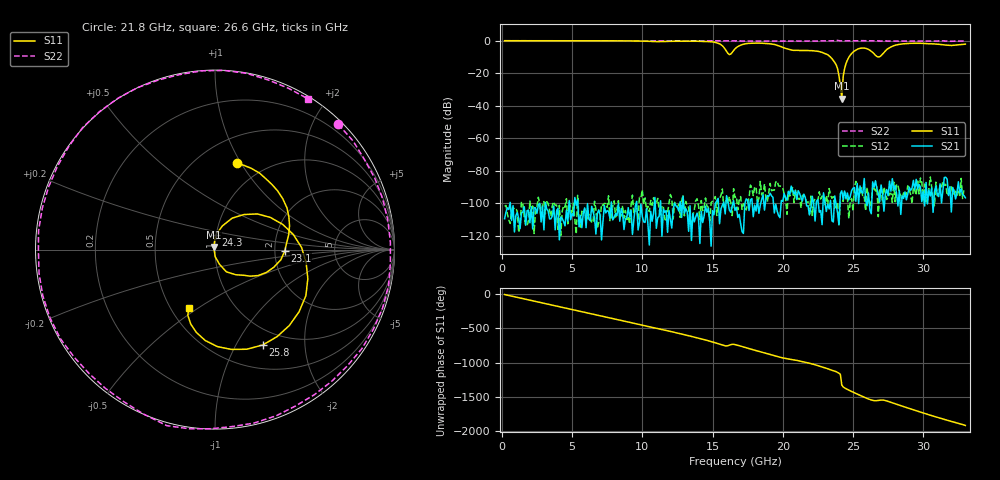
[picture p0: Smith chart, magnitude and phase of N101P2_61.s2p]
# GHZ S RI R 50
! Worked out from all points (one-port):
!   329 points, 200 MHz to 33 GHz, reference 50 ohm
!   lowest |S11| = -35.6 dB at 24.2 GHz (marker M1), VSWR 1.03, Z = 49.3 + j1.49 ohm
!   |S11| at or under -10 dB: 23.39 GHz to 24.72 GHz (1.326 GHz wide, 5.51 % of centre)
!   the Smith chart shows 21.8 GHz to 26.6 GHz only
!   S11 on the Smith chart (normalised r, x): 21.8 GHz: 0.75, +0.96; 23.1 GHz: 2.27, -0.04; 24.3 GHz: 0.99, +0.16; 25.8 GHz: 0.79, -1.29; 26.6 GHz: 0.62, -0.46
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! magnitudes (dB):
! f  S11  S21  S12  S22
! 200 MHz  0.0  -109.3  -101.8  0.0
! 5.7 GHz  0.0  -114.9  -104.7  0.0
! 11.2 GHz  -0.6  -107.9  -103.6  -0.1
! 15.1 GHz  -0.9  -106.9  -97.4  -0.1
! 15.7 GHz  -3.1  -101.1  -91.1  -0.1
! 16.2 GHz  -8.5  -104.1  -95.8  -0.1
! 16.6 GHz  -5.0  -104.3  -96.4  -0.1
! 18.4 GHz  -1.5  -101.2  -86.4  -0.2
! 21.8 GHz  -6.1  -101.5  -99.0  -0.2
! 22.1 GHz  -6.1  -95.6  -107.3  -0.2
! 23.1 GHz  -8.2  -104.9  -95.2  -0.2
! 23.9 GHz  -17.1  -105.8  -99.2  0.1
! 24.2 GHz  -35.6  -92.2  -98.0  -0.1
! 24.3 GHz  -22.0  -97.5  -98.7  -0.1
! 24.5 GHz  -14.0  -97.2  -95.0  -0.1
! 24.8 GHz  -8.9  -95.8  -98.8  -0.1
! 25.8 GHz  -4.5  -84.7  -96.0  0.0
! 26.6 GHz  -9.0  -86.0  -93.1  -0.1
! 26.9 GHz  -9.8  -98.9  -91.8  -0.2
! 27.6 GHz  -4.3  -86.4  -93.9  -0.2
! 29 GHz  -1.6  -90.0  -91.6  -0.3
! 33 GHz  -2.1  -96.5  -91.4  -0.2
